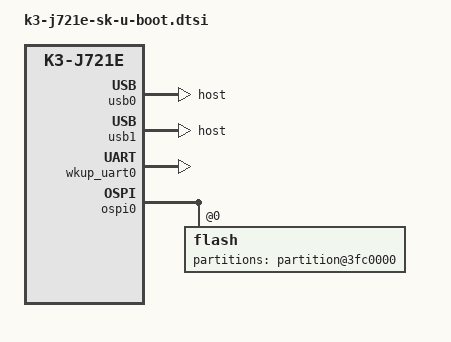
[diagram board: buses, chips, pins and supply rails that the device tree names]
// SPDX-License-Identifier: GPL-2.0
/*
 * Copyright (C) 2021 Texas Instruments Incorporated - https://www.ti.com/
 */

#include "k3-j721e-binman.dtsi"

&cbass_main {
	bootph-all;
};

&main_navss {
	bootph-all;
};

&cbass_mcu_wakeup {
	bootph-all;

	chipid@43000014 {
		bootph-all;
	};
};

&mcu_navss {
	bootph-all;
};

&mcu_ringacc {
		bootph-all;
};

&mcu_udmap {
	reg =	<0x0 0x285c0000 0x0 0x100>,
		<0x0 0x284c0000 0x0 0x4000>,
		<0x0 0x2a800000 0x0 0x40000>,
		<0x0 0x284a0000 0x0 0x4000>,
		<0x0 0x2aa00000 0x0 0x40000>,
		<0x0 0x28400000 0x0 0x2000>;
		reg-names = "gcfg", "rchan", "rchanrt", "tchan",
			    "tchanrt", "rflow";
		bootph-all;
};

&secure_proxy_main {
	bootph-all;
};

&dmsc {
	bootph-all;
	k3_sysreset: sysreset-controller {
		compatible = "ti,sci-sysreset";
		bootph-all;
	};
};

&k3_pds {
	bootph-all;
};

&k3_clks {
	bootph-all;
};

&k3_reset {
	bootph-all;
};

&wkup_pmx0 {
	bootph-all;
};

&main_pmx0 {
	bootph-all;
};

&main_uart0 {
	bootph-all;
};

&mcu_uart0 {
	bootph-all;
};

&main_sdhci1 {
	bootph-all;
};

&main_uart0_pins_default {
	bootph-all;
};

&serdes_ln_ctrl {
	u-boot,mux-autoprobe;
};

&usb_serdes_mux {
	u-boot,mux-autoprobe;
};

&main_usbss0_pins_default {
	bootph-all;
};

&usbss0 {
	bootph-all;
};

&usb0 {
	dr_mode = "host";
	bootph-all;
};

&main_usbss1_pins_default {
	bootph-all;
};

&usbss1 {
	bootph-all;
};

&usb1 {
	dr_mode = "host";
	bootph-all;
};

&main_mmc1_pins_default {
	bootph-all;
};

&wkup_i2c0_pins_default {
	bootph-all;
};

&wkup_i2c0 {
	bootph-all;
};

&wkup_uart0 {
	bootph-all;
	status = "okay";
};

&mcu_fss0_ospi0_pins_default {
	bootph-all;
};

&fss {
	bootph-all;
};

&main_esm {
	bootph-all;
};

&ospi0 {
	bootph-all;

	flash@0 {
		bootph-all;

		partition@3fc0000 {
			bootph-all;
		};
	};
};
